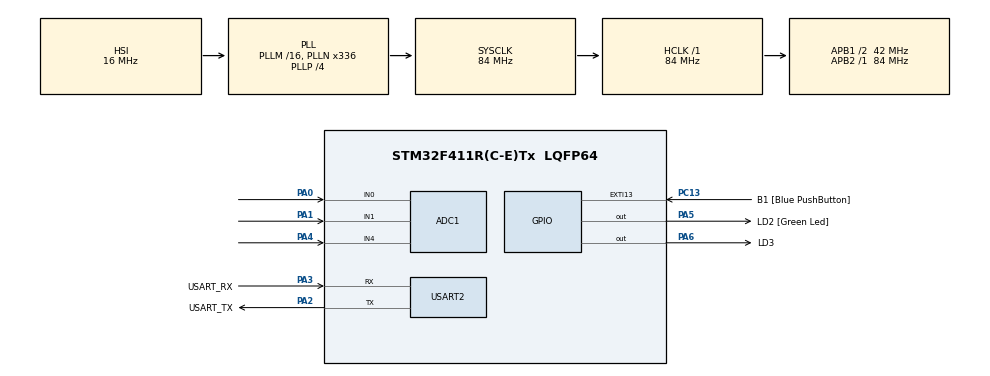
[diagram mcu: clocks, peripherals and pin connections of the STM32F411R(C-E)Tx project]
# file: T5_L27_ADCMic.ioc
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ADC1.Channel-0\#ChannelRegularConversion=ADC_CHANNEL_0
ADC1.Channel-2\#ChannelInjectedConversion=ADC_CHANNEL_4
ADC1.Channel-3\#ChannelRegularConversion=ADC_CHANNEL_1
ADC1.ClockPrescaler=ADC_CLOCK_SYNC_PCLK_DIV8
ADC1.ContinuousConvMode=DISABLE
ADC1.DMAContinuousRequests=ENABLE
ADC1.ExternalTrigConv=ADC_EXTERNALTRIGCONV_T2_TRGO
ADC1.ExternalTrigInjecConv=ADC_EXTERNALTRIGINJECCONV_T4_TRGO
ADC1.InjNumberOfConversion=1
ADC1.InjectedOffset-2\#ChannelInjectedConversion=0
ADC1.InjectedRank-2\#ChannelInjectedConversion=1
ADC1.NbrOfConversion=2
ADC1.NbrOfConversionFlag=1
ADC1.Rank-0\#ChannelRegularConversion=1
ADC1.Rank-3\#ChannelRegularConversion=2
ADC1.SamplingTime-0\#ChannelRegularConversion=ADC_SAMPLETIME_3CYCLES
ADC1.SamplingTime-2\#ChannelInjectedConversion=ADC_SAMPLETIME_3CYCLES
ADC1.SamplingTime-3\#ChannelRegularConversion=ADC_SAMPLETIME_3CYCLES
ADC1.master=1
Dma.ADC1.0.Direction=DMA_PERIPH_TO_MEMORY
Dma.ADC1.0.FIFOMode=DMA_FIFOMODE_DISABLE
Dma.ADC1.0.Instance=DMA2_Stream0
Dma.ADC1.0.MemDataAlignment=DMA_MDATAALIGN_HALFWORD
Dma.ADC1.0.MemInc=DMA_MINC_ENABLE
Dma.ADC1.0.Mode=DMA_CIRCULAR
Dma.ADC1.0.PeriphDataAlignment=DMA_PDATAALIGN_HALFWORD
Dma.ADC1.0.PeriphInc=DMA_PINC_DISABLE
Dma.ADC1.0.Priority=DMA_PRIORITY_LOW
Dma.Request0=ADC1
Mcu.Family=STM32F4
Mcu.Name=STM32F411R(C-E)Tx
Mcu.Package=LQFP64
NVIC.ADC_IRQn=true\:0\:0\:false\:false\:true\:true\:true
NVIC.DMA2_Stream0_IRQn=true\:0\:0\:false\:false\:true\:false\:true
NVIC.PriorityGroup=NVIC_PRIORITYGROUP_0
PA0-WKUP.Signal=ADCx_IN0
PA1.Signal=ADCx_IN1
PA13.GPIO_Label=TMS
PA13.Mode=Serial_Wire
PA13.Signal=SYS_JTMS-SWDIO
PA14.GPIO_Label=TCK
PA14.Mode=Serial_Wire
PA14.Signal=SYS_JTCK-SWCLK
PA2.GPIO_Label=USART_TX
PA2.Mode=Asynchronous
PA2.Signal=USART2_TX
PA3.GPIO_Label=USART_RX
PA3.Mode=Asynchronous
PA3.Signal=USART2_RX
PA4.Signal=ADCx_IN4
PA5.GPIO_Label=LD2 [Green Led]
PA5.Signal=GPIO_Output
PA6.GPIO_Label=LD3
PA6.Signal=GPIO_Output
PB3.GPIO_Label=SWO
PB3.Signal=SYS_JTDO-SWO
PC13-ANTI_TAMP.GPIO_Label=B1 [Blue PushButton]
PC13-ANTI_TAMP.GPIO_ModeDefaultEXTI=GPIO_MODE_IT_FALLING
PC13-ANTI_TAMP.Signal=GPXTI13
PC14-OSC32_IN.Mode=LSE-External-Oscillator
PC14-OSC32_IN.Signal=RCC_OSC32_IN
PC15-OSC32_OUT.Mode=LSE-External-Oscillator
PC15-OSC32_OUT.Signal=RCC_OSC32_OUT
PH0\ -\ OSC_IN.Mode=HSE-External-Clock-Source
PH0\ -\ OSC_IN.Signal=RCC_OSC_IN
PH1\ -\ OSC_OUT.Mode=HSE-External-Clock-Source
PH1\ -\ OSC_OUT.Signal=RCC_OSC_OUT
ProjectManager.HeapSize=0x200
ProjectManager.StackSize=0x400
ProjectManager.TargetToolchain=STM32CubeIDE
RCC.48MHZClocksFreq_Value=84000000
RCC.AHBFreq_Value=84000000
RCC.APB1CLKDivider=RCC_HCLK_DIV2
RCC.APB1Freq_Value=42000000
RCC.APB1TimFreq_Value=84000000
RCC.APB2Freq_Value=84000000
RCC.APB2TimFreq_Value=84000000
RCC.CortexFreq_Value=84000000
RCC.FLatency-AdvancedSettings=FLASH_LATENCY_2
RCC.HCLKFreq_Value=84000000
RCC.HSE_VALUE=8000000
RCC.HSI_VALUE=16000000
RCC.PLLN=336
RCC.PLLP=RCC_PLLP_DIV4
RCC.SYSCLKFreq_VALUE=84000000
RCC.SYSCLKSource=RCC_SYSCLKSOURCE_PLLCLK
RCC.VCOOutputFreq_Value=336000000
SH.ADCx_IN0.0=ADC1_IN0,IN0
SH.ADCx_IN1.0=ADC1_IN1,IN1
SH.ADCx_IN4.0=ADC1_IN4,IN4
TIM2.Period=999
TIM2.Prescaler=839
TIM2.TIM_MasterOutputTrigger=TIM_TRGO_UPDATE
TIM4.Period=634
TIM4.Prescaler=2
TIM4.TIM_MasterOutputTrigger=TIM_TRGO_UPDATE
USART2.VirtualMode=VM_ASYNC
VP_TIM2_VS_ClockSourceINT.Mode=Internal
VP_TIM4_VS_ClockSourceINT.Mode=Internal
board=NUCLEO-F411RE

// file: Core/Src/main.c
/* USER CODE BEGIN Header */
/**
  ******************************************************************************
  * @file           : main.c
  * @brief          : Main program body
  ******************************************************************************
  * @attention
  *
  * <h2><center>&copy; Copyright (c) 2020 STMicroelectronics.
  * All rights reserved.</center></h2>
  *
  * This software component is licensed by ST under BSD 3-Clause license,
  * the "License"; You may not use this file except in compliance with the
  * License. You may obtain a copy of the License at:
  *                        opensource.org/licenses/BSD-3-Clause
  *
  ******************************************************************************
  */
/* USER CODE END Header */
#include "main.h"
#include "adc.h"
#include "dma.h"
#include "tim.h"
#include "usart.h"
#include "gpio.h"

/* USER CODE BEGIN Includes */
#include "stdio.h"
#include "arm_math.h"
/* USER CODE END Includes */

/* USER CODE BEGIN PD */
#define FFT_SAMPLES 1024
/* USER CODE END PD */

/* USER CODE BEGIN PV */
uint16_t AdcRegular[2];
uint16_t AdcInjected[FFT_SAMPLES];

float FFTInBuffer[FFT_SAMPLES];
float FFTOutBuffer[FFT_SAMPLES];

arm_rfft_fast_instance_f32 FFTHandler;

volatile uint8_t SamplesReady;

uint8_t OutFreqArray[10];
/* USER CODE END PV */

void SystemClock_Config(void);
/* USER CODE BEGIN PFP */
float complexABS(float real, float compl);
void CalculateFFT();
/* USER CODE END PFP */

int main(void)
{

  /* MCU Configuration--------------------------------------------------------*/

  /* Reset of all peripherals, Initializes the Flash interface and the Systick. */
  HAL_Init();

  /* Configure the system clock */
  SystemClock_Config();

  /* Initialize all configured peripherals */
  MX_GPIO_Init();
  MX_DMA_Init();
  MX_USART2_UART_Init();
  MX_ADC1_Init();
  MX_TIM2_Init();
  MX_TIM4_Init();
  /* USER CODE BEGIN 2 */
  HAL_TIM_Base_Start(&htim2);
  HAL_ADC_Start_DMA(&hadc1, (uint32_t*)&AdcRegular, 1);

  HAL_TIM_Base_Start(&htim4);
  HAL_ADCEx_InjectedStart_IT(&hadc1);

  arm_rfft_fast_init_f32(&FFTHandler, FFT_SAMPLES);
  /* USER CODE END 2 */

  /* Infinite loop */
  /* USER CODE BEGIN WHILE */
  while (1)
  {
	  if(SamplesReady == 1)
	  {
		  SamplesReady = 0;

		  for(uint32_t i = 0; i < FFT_SAMPLES; i++)
		  {
			  FFTInBuffer[i] = (float) AdcInjected[i];
		  }

		  CalculateFFT();
	  }
    /* USER CODE END WHILE */

  }
}

void SystemClock_Config(void)
{
  RCC_OscInitTypeDef RCC_OscInitStruct = {0};
  RCC_ClkInitTypeDef RCC_ClkInitStruct = {0};

  /** Configure the main internal regulator output voltage
  */
  __HAL_RCC_PWR_CLK_ENABLE();
  __HAL_PWR_VOLTAGESCALING_CONFIG(PWR_REGULATOR_VOLTAGE_SCALE1);
  /** Initializes the RCC Oscillators according to the specified parameters
  * in the RCC_OscInitTypeDef structure.
  */
  RCC_OscInitStruct.OscillatorType = RCC_OSCILLATORTYPE_HSI;
  RCC_OscInitStruct.HSIState = RCC_HSI_ON;
  RCC_OscInitStruct.HSICalibrationValue = RCC_HSICALIBRATION_DEFAULT;
  RCC_OscInitStruct.PLL.PLLState = RCC_PLL_ON;
  RCC_OscInitStruct.PLL.PLLSource = RCC_PLLSOURCE_HSI;
  RCC_OscInitStruct.PLL.PLLM = 16;
  RCC_OscInitStruct.PLL.PLLN = 336;
  RCC_OscInitStruct.PLL.PLLP = RCC_PLLP_DIV4;
  RCC_OscInitStruct.PLL.PLLQ = 4;
  if (HAL_RCC_OscConfig(&RCC_OscInitStruct) != HAL_OK)
  {
    Error_Handler();
  }
  /** Initializes the CPU, AHB and APB buses clocks
  */
  RCC_ClkInitStruct.ClockType = RCC_CLOCKTYPE_HCLK|RCC_CLOCKTYPE_SYSCLK
                              |RCC_CLOCKTYPE_PCLK1|RCC_CLOCKTYPE_PCLK2;
  RCC_ClkInitStruct.SYSCLKSource = RCC_SYSCLKSOURCE_PLLCLK;
  RCC_ClkInitStruct.AHBCLKDivider = RCC_SYSCLK_DIV1;
  RCC_ClkInitStruct.APB1CLKDivider = RCC_HCLK_DIV2;
  RCC_ClkInitStruct.APB2CLKDivider = RCC_HCLK_DIV1;

  if (HAL_RCC_ClockConfig(&RCC_ClkInitStruct, FLASH_LATENCY_2) != HAL_OK)
  {
    Error_Handler();
  }
}

/* USER CODE BEGIN 4 */

void HAL_ADCEx_InjectedConvCpltCallback(ADC_HandleTypeDef* hadc)
{
	static uint16_t i = 0;

	if(hadc->Instance == ADC1)
	{
		AdcInjected[i] = HAL_ADCEx_InjectedGetValue(hadc, ADC_INJECTED_RANK_1);
		i++;

		if(i == FFT_SAMPLES - 1)
		{
			i = 0;
			SamplesReady = 1;
		}
	}
}

float complexABS(float real, float compl)
{
	return sqrtf(real*real+compl*compl);
}

void CalculateFFT()
{
	arm_rfft_fast_f32(&FFTHandler, FFTInBuffer, FFTOutBuffer, 0);

	int Freqs[FFT_SAMPLES];
	int FreqPoint = 0;
	int Offset = 65; // variable noise floor offset

	// calculate abs values and linear-to-dB
	for (int i = 0; i < FFT_SAMPLES; i = i+2)
	{
		Freqs[FreqPoint] = (int)(20*log10f(complexABS(FFTOutBuffer[i], FFTOutBuffer[i+1]))) - Offset;

		if(Freqs[FreqPoint] < 0)
		{
			Freqs[FreqPoint] = 0;
		}

		FreqPoint++;
	}

	OutFreqArray[0] = (uint8_t)Freqs[1]; // 22 Hz
	OutFreqArray[1] = (uint8_t)Freqs[2]; // 63 Hz
	OutFreqArray[2] = (uint8_t)Freqs[3]; // 125 Hz
	OutFreqArray[3] = (uint8_t)Freqs[6]; // 250 Hz
	OutFreqArray[4] = (uint8_t)Freqs[12]; // 500 Hz
	OutFreqArray[5] = (uint8_t)Freqs[23]; // 1000 Hz
	OutFreqArray[6] = (uint8_t)Freqs[51]; // 2200 Hz
	OutFreqArray[7] = (uint8_t)Freqs[104]; // 4500 Hz
	OutFreqArray[8] = (uint8_t)Freqs[207]; // 9000 Hz
	OutFreqArray[9] = (uint8_t)Freqs[344]; // 15000 Hz
}
/* USER CODE END 4 */

void Error_Handler(void)
{
}

/************************ (C) COPYRIGHT STMicroelectronics *****END OF FILE****/
